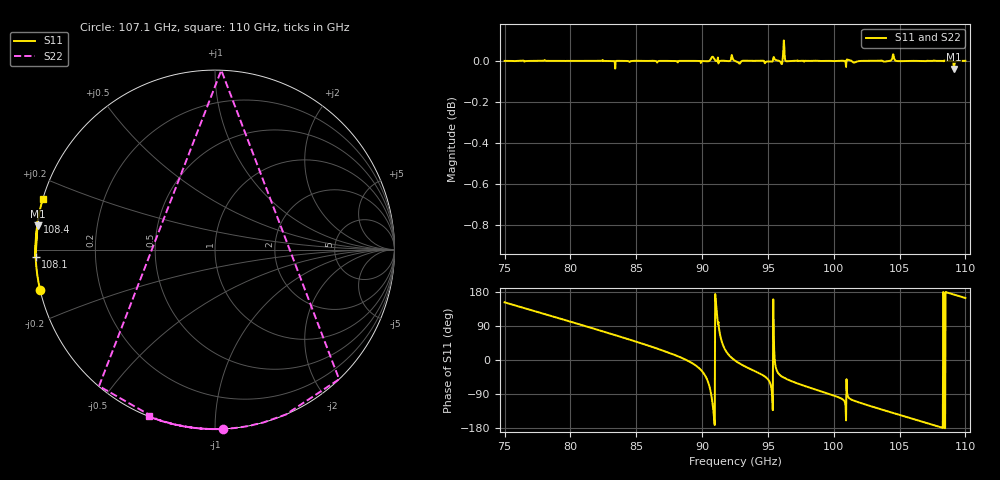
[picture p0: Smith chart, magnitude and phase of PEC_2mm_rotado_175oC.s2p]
! TOUCHSTONE file generated by CST MICROWAVE STUDIO
! Date and time: Wed Feb 14 15:11:46 2024
! Project name: metal_rotado.cst
! Parameters = {angY=1.75}
! Header version: 2018
! Port assignment regex: !\s*Touchstone port\s*([0-9]+)\s*=\s*(CST MWS port|CST DS port)\s*([0-9]+|Zmin|Zmax)\s*\(\"(.*)\"\)(\s*mode\s*([0-9]+))?.*
! Touchstone port assignment:
! Touchstone port 1 = CST MWS port 1 ("")
! Touchstone port 2 = CST MWS port 2 ("")
# GHz S MA R 376.7
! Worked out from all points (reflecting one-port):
!   1001 points, 75 GHz to 110 GHz, reference 376.7 ohm
!   lowest |S11| = 0.0 dB at 109.1 GHz (marker M1), VSWR 443.84, Z = 0.852 + j24.5 ohm
!   phase of S11 starts at 152 deg and turns -1069 deg over the sweep
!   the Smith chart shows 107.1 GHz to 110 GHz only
!   S11 on the Smith chart (normalised r, x): 107.1 GHz: -0.00, -0.11; 108.1 GHz: -0.00, -0.02; 108.4 GHz: 0.00, +0.08; 110 GHz: -0.00, +0.14
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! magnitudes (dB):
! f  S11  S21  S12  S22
! 75 GHz  0.0  -  -  0.0
! 80.84 GHz  0.0  -  -  0.0
! 86.69 GHz  0.0  -  -  0.0
! 90.36 GHz  0.0  -  -  0.0
! 90.78 GHz  0.0  -  -  0.0
! 92.5 GHz  0.0  -  -  0.0
! 94.92 GHz  0.0  -  -  0.0
! 95.58 GHz  0.0  -  -  0.0
! 95.93 GHz  0.0  -  -  0.0
! 96.07 GHz  0.0  -  -  0.0
! 96.28 GHz  0.0  -  -  0.0
! 96.49 GHz  0.0  -  -  0.0
! 98.34 GHz  0.0  -  -  0.0
! 103.1 GHz  0.0  -  -  0.0
! 104.2 GHz  0.0  -  -  0.0
! 104.5 GHz  0.0  -  -  0.0
! 104.9 GHz  0.0  -  -  0.0
! 107.1 GHz  0.0  -  -  0.0
! 108.1 GHz  0.0  -  -  0.0
! 108.4 GHz  0.0  -  -  0.0
! 109.1 GHz  0.0  -  -  0.0
! 110 GHz  0.0  -  -  0.0
